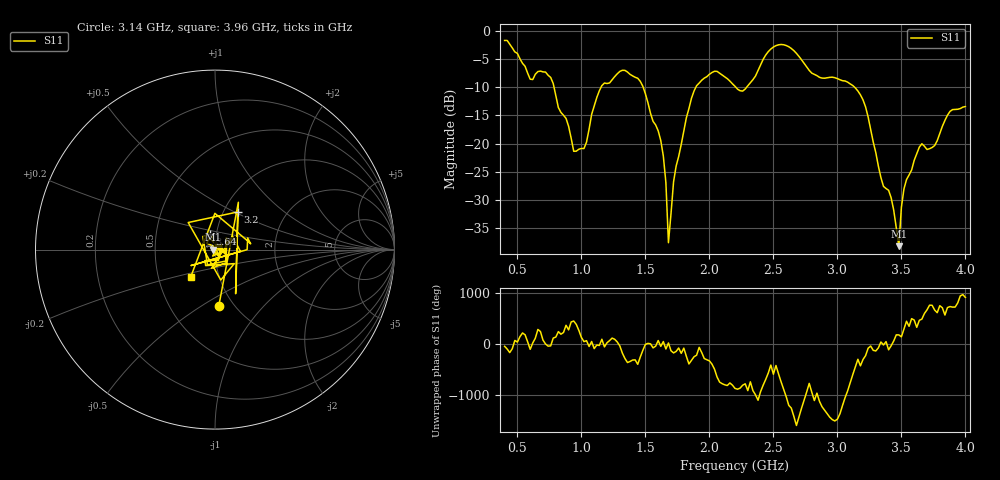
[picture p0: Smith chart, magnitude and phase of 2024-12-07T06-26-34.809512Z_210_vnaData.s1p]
!Created with skrf (http://scikit-rf.org).
# Hz S RI R 50.0
!freq ReS11 ImS11
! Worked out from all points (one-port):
!   181 points, 400 MHz to 4 GHz, reference 50 ohm
!   lowest |S11| = -38.3 dB at 3.48 GHz (marker M1), VSWR 1.02, Z = 48.8 - j0.0621 ohm
!   |S11| at or under -10 dB: 786.5 MHz to 1.153 GHz (366.5 MHz wide, 37.8 % of centre); 1.483 GHz to 1.894 GHz (410.6 MHz wide, 24.3 % of centre); 3.136 GHz to end of sweep (the widest 3 of 4)
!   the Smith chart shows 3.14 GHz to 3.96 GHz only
!   S11 on the Smith chart (normalised r, x): 3.14 GHz: 0.85, -0.59; 3.2 GHz: 1.16, +0.52; 3.64 GHz: 0.93, +0.16; 3.96 GHz: 0.73, -0.23
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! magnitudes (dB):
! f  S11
! 400 MHz  -1.6
! 600 MHz  -8.5
! 760 MHz  -8.2
! 860 MHz  -15.0
! 940 MHz  -21.4
! 1.02 GHz  -20.9
! 1.14 GHz  -10.6
! 1.3 GHz  -7.2
! 1.46 GHz  -8.9
! 1.6 GHz  -17.7
! 1.66 GHz  -26.9
! 1.68 GHz  -37.7
! 1.72 GHz  -26.8
! 1.76 GHz  -22.3
! 1.9 GHz  -9.7
! 2.2 GHz  -9.8
! 2.5 GHz  -2.8
! 2.66 GHz  -3.5
! 3.1 GHz  -9.4
! 3.14 GHz  -10.1
! 3.2 GHz  -12.2
! 3.42 GHz  -29.7
! 3.48 GHz  -38.3
! 3.52 GHz  -28.1
! 3.56 GHz  -25.6
! 3.64 GHz  -20.6
! 3.96 GHz  -13.8
! 4 GHz  -13.4
